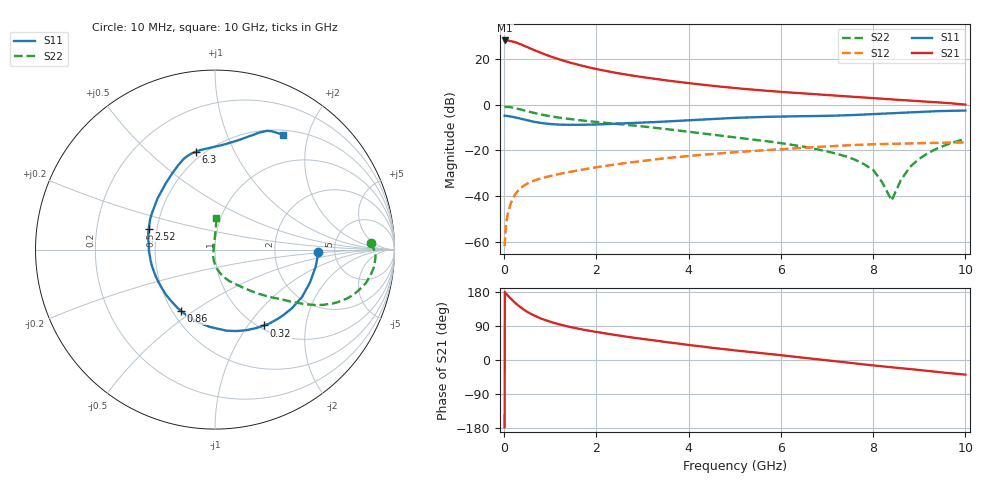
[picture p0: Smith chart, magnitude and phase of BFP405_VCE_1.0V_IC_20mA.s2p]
! Infineon Technologies  Discrete & RF Semiconductors
! BFP405
! VCE =  1.0 V,  IC =  20 mA
! Common Emitter S-Parameters:  Jan 2016
# GHz  S  MA  R  50
!  f  S11  S21  S12  S22
! GHz  MAG  ANG  MAG  ANG  MAG  ANG  MAG  ANG
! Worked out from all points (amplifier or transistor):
!   233 points, 10 MHz to 10 GHz, reference 50 ohm
!   highest |S21| = 28.1 dB at 20 MHz (marker M1)
!   |S21| within 3 dB of that: start of sweep to 512 MHz
!   unconditionally stable (mu >= 1): start of sweep to 47.6 MHz; 1.098 GHz to end of sweep
!   at 200 MHz: K = 0.44, MSG = 34.1 dB, |S12| = -40.6 dB
!   at 1.74 GHz: K = 1.28, MAG = 19.3 dB, |S12| = -28.3 dB
!   at 10 GHz: K = 1.64, MAG = 3.6 dB, |S12| = -16.5 dB
!   S11 on the Smith chart (normalised r, x): 10 MHz: 3.67, -0.14; 320 MHz: 1.06, -1.20; 860 MHz: 0.55, -0.45; 2.52 GHz: 0.45, +0.12; 6.3 GHz: 0.46, +0.72; 10 GHz: 0.56, +1.61
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0.01  0.5721 -1.3  25.28 -177.8  0.0008 80.9  0.8688 2.5
0.02  0.5728 -4.2  25.42 177.5  0.0013 100.0  0.8864 -0.1
0.1  0.5602 -19.0  25.19 167.3  0.0049 82.2  0.8922 -6.1
0.2  0.539 -37.3  23.88 155.3  0.0093 75.1  0.8608 -12.6
0.26  0.5212 -47.6  22.9 148.6  0.0116 71.5  0.8311 -15.9
0.32  0.5036 -57.0  21.67 142.6  0.0137 67.9  0.8046 -18.6
0.42  0.4754 -71.6  19.71 133.4  0.0167 63.5  0.7547 -22.4
0.6  0.4316 -93.9  16.44 120.3  0.0208 58.2  0.6761 -27.1
0.7  0.4147 -104.5  14.91 114.6  0.0227 56.4  0.6392 -28.9
0.86  0.3905 -118.8  12.87 106.8  0.0254 54.7  0.5919 -30.9
1  0.3771 -130.0  11.4 100.9  0.0275 53.8  0.5575 -32.4
1.2  0.3661 -143.6  9.762 94.0  0.0305 53.0  0.5184 -34.1
1.68  0.3635 -168.5  7.148 80.9  0.0377 52.3  0.4519 -37.5
2.52  0.3871 162.4  4.782 64.0  0.051 49.7  0.3732 -43.0
3.4  0.4225 140.7  3.523 49.3  0.0656 44.8  0.3016 -49.3
5.1  0.5182 112.3  2.261 24.2  0.0924 32.9  0.1874 -66.5
6.3  0.5557 100.9  1.816 8.6  0.1109 23.8  0.1294 -78.6
6.8  0.5649 94.5  1.675 1.9  0.1188 19.7  0.1048 -84.2
8  0.6217 78.2  1.392 -14.3  0.136 8.0  0.0374 -106.8
8.4  0.6501 74.2  1.304 -19.2  0.1391 4.2  0.008 172.1
9  0.6942 69.6  1.196 -26.4  0.1438 -0.9  0.0654 90.8
10  0.7435 59.5  1.005 -38.6  0.1496 -8.4  0.1784 87.7
